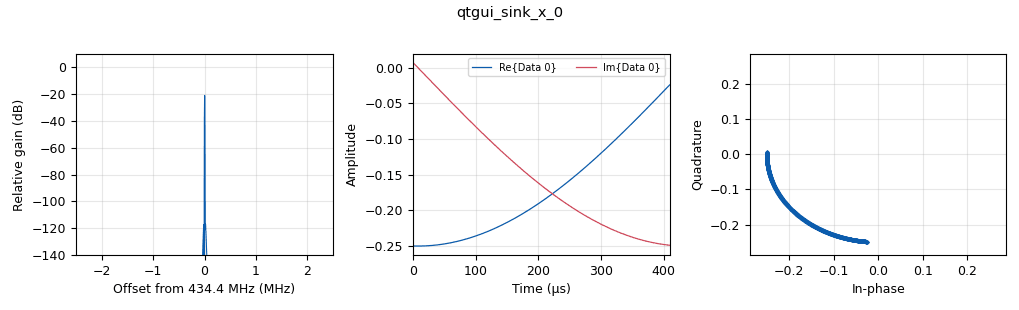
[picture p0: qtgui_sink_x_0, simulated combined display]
<?xml version='1.0' encoding='utf-8'?>
<?grc format='1' created='3.7.11'?>
<flow_graph>
<block>
<key>options</key>
<param><key>id</key><value>frequency_sweep</value></param>
<param><key>author</key><value>Joel Lehtonen</value></param>
<param><key>category</key><value>Custom</value></param>
<param><key>description</key><value>Sweeps giten frequency range with configurable options</value></param>
<param><key>generate_options</key><value>qt_gui</value></param>
<param><key>run_options</key><value>run</value></param>
<param><key>title</key><value>LimeSDR frequency sweeper</value></param>
</block>
<block>
<key>analog_frequency_modulator_fc</key>
<param><key>id</key><value>analog_frequency_modulator_fc_0</value></param>
<param><key>sensitivity</key><value>2 * math.pi * deviation / samp_rate</value></param>
</block>
<block>
<key>analog_sig_source_x</key>
<param><key>id</key><value>analog_sig_source_x_0</value></param>
<param><key>amp</key><value>steps</value></param>
<param><key>freq</key><value>1.0/duration/steps</value></param>
<param><key>offset</key><value>0</value></param>
<param><key>type</key><value>float</value></param>
<param><key>samp_rate</key><value>samp_rate</value></param>
<param><key>waveform</key><value>analog.GR_SAW_WAVE</value></param>
</block>
<block>
<key>blocks_float_to_complex</key>
<param><key>id</key><value>blocks_float_to_complex_0</value></param>
</block>
<block>
<key>blocks_multiply_xx</key>
<param><key>id</key><value>blocks_multiply_xx_0</value></param>
<param><key>type</key><value>complex</value></param>
</block>
<block>
<key>parameter</key>
<param><key>id</key><value>deviation</value></param>
<param><key>label</key><value>Deviation in Hz</value></param>
<param><key>short_id</key><value>d</value></param>
<param><key>type</key><value>eng_float</value></param>
<param><key>value</key><value>75000</value></param>
</block>
<block>
<key>parameter</key>
<param><key>id</key><value>device</value></param>
<param><key>label</key><value>Device type. 1=LimeSDR-Mini, 2=LimeSDR-USB</value></param>
<param><key>short_id</key><value>t</value></param>
<param><key>type</key><value>intx</value></param>
<param><key>value</key><value>1</value></param>
</block>
<block>
<key>parameter</key>
<param><key>id</key><value>duration</value></param>
<param><key>label</key><value>Single sweep duration (in seconds)</value></param>
<param><key>short_id</key><value>S</value></param>
<param><key>type</key><value>eng_float</value></param>
<param><key>value</key><value>5</value></param>
</block>
<block>
<key>parameter</key>
<param><key>id</key><value>frequency</value></param>
<param><key>label</key><value>Center frequency (MHz)</value></param>
<param><key>short_id</key><value>f</value></param>
<param><key>type</key><value>eng_float</value></param>
<param><key>value</key><value>434.400</value></param>
</block>
<block>
<key>epy_block</key>
<param><key>id</key><value>frequency_sweep_erotin</value></param>
<param><key>_source_code</key><value>"""
Embedded Python Blocks:

Each time this file is saved, GRC will instantiate the first class it finds
to get ports and parameters of your block. The arguments to __init__  will
be the parameters. All of them are required to have default values!
"""

import numpy as np
from gnuradio import gr
import math


class blk(gr.sync_block):  # other base classes are basic_block, decim_block, interp_block
    """Embedded Python Block example - a simple multiply const"""

    def __init__(self):  # only default arguments here
        """arguments to this function show up as parameters in GRC"""
        gr.sync_block.__init__(
            self,
            name='Divmod',   # will show up in GRC
            in_sig=[np.float32],
            out_sig=[np.float32,np.float32]
        )

    def work(self, input_items, output_items):
        """example: multiply with constant"""
        m = np.modf(input_items[0])
        output_items[0][:] = m[0]
        output_items[1][:] = np.power(2, -m[1])
        return len(output_items[0])
</value></param>
</block>
<block>
<key>import</key>
<param><key>id</key><value>import_0</value></param>
<param><key>import</key><value>import math</value></param>
</block>
<block>
<key>limesdr_sink</key>
<param><key>id</key><value>limesdr_sink_0_0</value></param>
<param><key>channel</key><value>0</value></param>
<param><key>analog_bandw_ch0</key><value>samp_rate</value></param>
<param><key>analog_filter_ch0</key><value>1</value></param>
<param><key>cmix_mode_ch0</key><value>0</value></param>
<param><key>calibr_bandw_ch0</key><value>samp_rate</value></param>
<param><key>calibration_ch0</key><value>1</value></param>
<param><key>digital_bandw_ch0</key><value>100e3</value></param>
<param><key>digital_filter_ch0</key><value>0</value></param>
<param><key>gain_dB_ch0</key><value>rf_gain</value></param>
<param><key>pa_path_ch0</key><value>1</value></param>
<param><key>pa_path_mini</key><value>1</value></param>
<param><key>analog_bandw_ch1</key><value>7e6</value></param>
<param><key>analog_filter_ch1</key><value>1</value></param>
<param><key>cmix_mode_ch1</key><value>0</value></param>
<param><key>calibr_bandw_ch1</key><value>10e6</value></param>
<param><key>calibration_ch1</key><value>1</value></param>
<param><key>digital_bandw_ch1</key><value>0</value></param>
<param><key>digital_filter_ch1</key><value>1</value></param>
<param><key>gain_dB_ch1</key><value>0</value></param>
<param><key>pa_path_ch1</key><value>1</value></param>
<param><key>chip_mode</key><value>1</value></param>
<param><key>serial</key><value>serial</value></param>
<param><key>device_type</key><value>device</value></param>
<param><key>file_switch</key><value>0</value></param>
<param><key>oversample</key><value>1</value></param>
<param><key>rf_freq</key><value>1e6*frequency</value></param>
<param><key>samp_rate</key><value>samp_rate</value></param>
</block>
<block>
<key>qtgui_number_sink</key>
<param><key>id</key><value>qtgui_number_sink_0</value></param>
<param><key>graph_type</key><value>qtgui.NUM_GRAPH_HORIZ</value></param>
<param><key>type</key><value>float</value></param>
<param><key>label1</key><value>Relative amplitude</value></param>
<param><key>unit1</key><value>of FS</value></param>
<param><key>min</key><value>0</value></param>
</block>
<block>
<key>qtgui_sink_x</key>
<param><key>id</key><value>qtgui_sink_x_0</value></param>
<param><key>bw</key><value>samp_rate</value></param>
<param><key>fc</key><value>frequency*1e6</value></param>
<param><key>freqchangevar</key><value>None</value></param>
<param><key>fftsize</key><value>2048</value></param>
<param><key>showports</key><value>True</value></param>
<param><key>showrf</key><value>True</value></param>
<param><key>type</key><value>complex</value></param>
<param><key>wintype</key><value>firdes.WIN_BLACKMAN_hARRIS</value></param>
</block>
<block>
<key>qtgui_time_sink_x</key>
<param><key>id</key><value>qtgui_time_sink_x_0</value></param>
<param><key>_enabled</key><value>0</value></param>
<param><key>color1</key><value>"blue"</value></param>
<param><key>label1</key><value></value></param>
<param><key>color2</key><value>"red"</value></param>
<param><key>label2</key><value></value></param>
<param><key>nconnections</key><value>2</value></param>
<param><key>size</key><value>1024</value></param>
<param><key>srate</key><value>samp_rate</value></param>
<param><key>type</key><value>float</value></param>
<param><key>ymax</key><value>5</value></param>
</block>
<block>
<key>parameter</key>
<param><key>id</key><value>rf_gain</value></param>
<param><key>label</key><value>RF gain</value></param>
<param><key>short_id</key><value>g</value></param>
<param><key>type</key><value>intx</value></param>
<param><key>value</key><value>60</value></param>
</block>
<block>
<key>parameter</key>
<param><key>id</key><value>samp_rate</value></param>
<param><key>label</key><value>Sample rate (&gt;=5000000)</value></param>
<param><key>short_id</key><value>r</value></param>
<param><key>type</key><value>intx</value></param>
<param><key>value</key><value>5000000</value></param>
</block>
<block>
<key>parameter</key>
<param><key>id</key><value>serial</value></param>
<param><key>label</key><value>LimeSDR serial number</value></param>
<param><key>short_id</key><value>s</value></param>
<param><key>type</key><value>string</value></param>
<param><key>value</key><value>1D3AD649AC230B</value></param>
</block>
<block>
<key>parameter</key>
<param><key>id</key><value>steps</value></param>
<param><key>label</key><value>Amplitude steps</value></param>
<param><key>short_id</key><value>a</value></param>
<param><key>type</key><value>intx</value></param>
<param><key>value</key><value>4</value></param>
</block>
<connection><source_block_id>analog_frequency_modulator_fc_0</source_block_id><sink_block_id>blocks_multiply_xx_0</sink_block_id><source_key>0</source_key><sink_key>0</sink_key></connection>
<connection><source_block_id>analog_sig_source_x_0</source_block_id><sink_block_id>frequency_sweep_erotin</sink_block_id><source_key>0</source_key><sink_key>0</sink_key></connection>
<connection><source_block_id>blocks_float_to_complex_0</source_block_id><sink_block_id>blocks_multiply_xx_0</sink_block_id><source_key>0</source_key><sink_key>1</sink_key></connection>
<connection><source_block_id>blocks_multiply_xx_0</source_block_id><sink_block_id>limesdr_sink_0_0</sink_block_id><source_key>0</source_key><sink_key>0</sink_key></connection>
<connection><source_block_id>blocks_multiply_xx_0</source_block_id><sink_block_id>qtgui_sink_x_0</sink_block_id><source_key>0</source_key><sink_key>0</sink_key></connection>
<connection><source_block_id>frequency_sweep_erotin</source_block_id><sink_block_id>analog_frequency_modulator_fc_0</sink_block_id><source_key>0</source_key><sink_key>0</sink_key></connection>
<connection><source_block_id>frequency_sweep_erotin</source_block_id><sink_block_id>qtgui_time_sink_x_0</sink_block_id><source_key>0</source_key><sink_key>0</sink_key></connection>
<connection><source_block_id>frequency_sweep_erotin</source_block_id><sink_block_id>blocks_float_to_complex_0</sink_block_id><source_key>1</source_key><sink_key>0</sink_key></connection>
<connection><source_block_id>frequency_sweep_erotin</source_block_id><sink_block_id>qtgui_number_sink_0</sink_block_id><source_key>1</source_key><sink_key>0</sink_key></connection>
<connection><source_block_id>frequency_sweep_erotin</source_block_id><sink_block_id>qtgui_time_sink_x_0</sink_block_id><source_key>1</source_key><sink_key>1</sink_key></connection>
</flow_graph>
